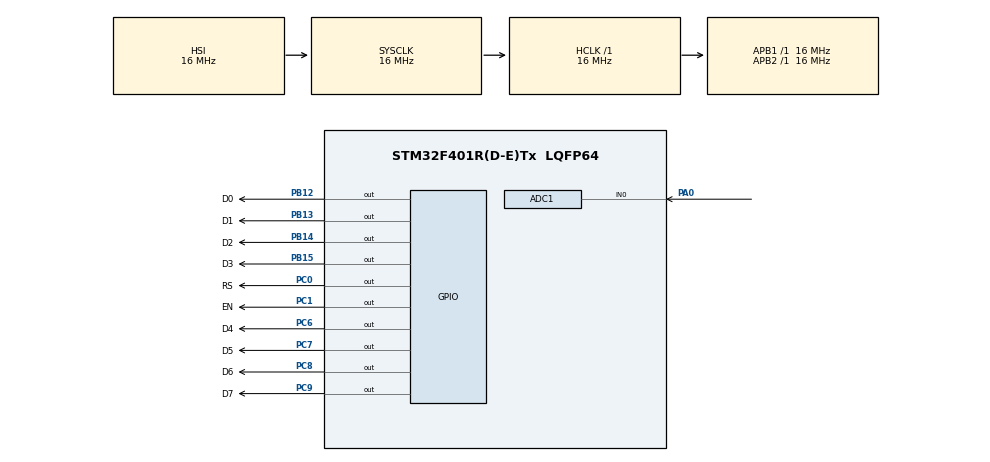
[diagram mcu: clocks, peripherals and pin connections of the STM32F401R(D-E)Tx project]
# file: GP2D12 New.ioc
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ADC1.Channel-0\#ChannelRegularConversion=ADC_CHANNEL_0
ADC1.ClockPrescaler=ADC_CLOCK_SYNC_PCLK_DIV8
ADC1.ContinuousConvMode=ENABLE
ADC1.NbrOfConversionFlag=1
ADC1.Rank-0\#ChannelRegularConversion=1
ADC1.SamplingTime-0\#ChannelRegularConversion=ADC_SAMPLETIME_480CYCLES
ADC1.master=1
Mcu.Family=STM32F4
Mcu.Name=STM32F401R(D-E)Tx
Mcu.Package=LQFP64
NVIC.PriorityGroup=NVIC_PRIORITYGROUP_4
PA0-WKUP.Signal=ADCx_IN0
PB12.GPIO_Label=D0
PB12.Signal=GPIO_Output
PB13.GPIO_Label=D1
PB13.Signal=GPIO_Output
PB14.GPIO_Label=D2
PB14.Signal=GPIO_Output
PB15.GPIO_Label=D3
PB15.Signal=GPIO_Output
PC0.GPIO_Label=RS
PC0.Signal=GPIO_Output
PC1.GPIO_Label=EN
PC1.Signal=GPIO_Output
PC6.GPIO_Label=D4
PC6.Signal=GPIO_Output
PC7.GPIO_Label=D5
PC7.Signal=GPIO_Output
PC8.GPIO_Label=D6
PC8.Signal=GPIO_Output
PC9.GPIO_Label=D7
PC9.Signal=GPIO_Output
ProjectManager.HeapSize=0x200
ProjectManager.StackSize=0x400
ProjectManager.TargetToolchain=STM32CubeIDE
RCC.AHBFreq_Value=16000000
RCC.APB1Freq_Value=16000000
RCC.APB2Freq_Value=16000000
RCC.CortexFreq_Value=16000000
RCC.HSE_VALUE=25000000
RCC.HSI_VALUE=16000000
RCC.LSE_VALUE=32768
RCC.SYSCLKFreq_VALUE=16000000
RCC.VCOOutputFreq_Value=192000000
SH.ADCx_IN0.0=ADC1_IN0,IN0
board=custom

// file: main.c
/* USER CODE BEGIN Header */
/**
  ******************************************************************************
  * @file           : main.c
  * @brief          : Main program body
  ******************************************************************************
  * @attention
  *
  * <h2><center>&copy; Copyright (c) 2020 STMicroelectronics.
  * All rights reserved.</center></h2>
  *
  * This software component is licensed by ST under BSD 3-Clause license,
  * the "License"; You may not use this file except in compliance with the
  * License. You may obtain a copy of the License at:
  *                        opensource.org/licenses/BSD-3-Clause
  *
  ******************************************************************************
  */
/* USER CODE END Header */

#include "main.h"

/* USER CODE BEGIN Includes */
#include "STM_MY_LCD16X2.h"

/* USER CODE END Includes */

ADC_HandleTypeDef hadc1;

void SystemClock_Config(void);
static void MX_GPIO_Init(void);
static void MX_ADC1_Init(void);

int main(void)
{
  /* USER CODE BEGIN 1 */
	uint32_t adc_value = 0;
	float v; //sensor output voltage
	float distance;

  /* USER CODE END 1 */

  /* MCU Configuration--------------------------------------------------------*/

  /* Reset of all peripherals, Initializes the Flash interface and the Systick. */
  HAL_Init();

  /* Configure the system clock */
  SystemClock_Config();

  /* Initialize all configured peripherals */
  MX_GPIO_Init();
  MX_ADC1_Init();
  /* USER CODE BEGIN 2 */
  HAL_ADC_Start(&hadc1);
  LCD1602_Begin8BIT(GPIOC,GPIO_PIN_0,GPIO_PIN_1,GPIOB,GPIO_PIN_12,GPIO_PIN_13,GPIO_PIN_14,GPIO_PIN_15,GPIOC,GPIO_PIN_6,GPIO_PIN_7,GPIO_PIN_8,GPIO_PIN_9);

  /* USER CODE END 2 */

  /* Infinite loop */
  /* USER CODE BEGIN WHILE */
  while (1)
  {
	  adc_value = HAL_ADC_GetValue(&hadc1);
	  v = (float)adc_value * 0.0008058608;

	  distance = (float)((206.3) / (v*v+6.689*v-0.3274));

	  LCD1602_clear();
	  LCD1602_1stLine();
	  LCD1602_print("V : ");
	  LCD1602_PrintFloat(v,2);
	  LCD1602_2ndLine();
	  LCD1602_print("D : ");
	  LCD1602_PrintFloat(distance,4);
	  LCD1602_print(" mm");

	  HAL_Delay(50);
    /* USER CODE END WHILE */

  }
}

void SystemClock_Config(void)
{
  RCC_OscInitTypeDef RCC_OscInitStruct = {0};
  RCC_ClkInitTypeDef RCC_ClkInitStruct = {0};

  /** Configure the main internal regulator output voltage
  */
  __HAL_RCC_PWR_CLK_ENABLE();
  __HAL_PWR_VOLTAGESCALING_CONFIG(PWR_REGULATOR_VOLTAGE_SCALE2);
  /** Initializes the CPU, AHB and APB busses clocks
  */
  RCC_OscInitStruct.OscillatorType = RCC_OSCILLATORTYPE_HSI;
  RCC_OscInitStruct.HSIState = RCC_HSI_ON;
  RCC_OscInitStruct.HSICalibrationValue = RCC_HSICALIBRATION_DEFAULT;
  RCC_OscInitStruct.PLL.PLLState = RCC_PLL_NONE;
  if (HAL_RCC_OscConfig(&RCC_OscInitStruct) != HAL_OK)
  {
    Error_Handler();
  }
  /** Initializes the CPU, AHB and APB busses clocks
  */
  RCC_ClkInitStruct.ClockType = RCC_CLOCKTYPE_HCLK|RCC_CLOCKTYPE_SYSCLK
                              |RCC_CLOCKTYPE_PCLK1|RCC_CLOCKTYPE_PCLK2;
  RCC_ClkInitStruct.SYSCLKSource = RCC_SYSCLKSOURCE_HSI;
  RCC_ClkInitStruct.AHBCLKDivider = RCC_SYSCLK_DIV1;
  RCC_ClkInitStruct.APB1CLKDivider = RCC_HCLK_DIV1;
  RCC_ClkInitStruct.APB2CLKDivider = RCC_HCLK_DIV1;

  if (HAL_RCC_ClockConfig(&RCC_ClkInitStruct, FLASH_LATENCY_0) != HAL_OK)
  {
    Error_Handler();
  }
}

static void MX_ADC1_Init(void)
{

  ADC_ChannelConfTypeDef sConfig = {0};

  /** Configure the global features of the ADC (Clock, Resolution, Data Alignment and number of conversion)
  */
  hadc1.Instance = ADC1;
  hadc1.Init.ClockPrescaler = ADC_CLOCK_SYNC_PCLK_DIV8;
  hadc1.Init.Resolution = ADC_RESOLUTION_12B;
  hadc1.Init.ScanConvMode = DISABLE;
  hadc1.Init.ContinuousConvMode = ENABLE;
  hadc1.Init.DiscontinuousConvMode = DISABLE;
  hadc1.Init.ExternalTrigConvEdge = ADC_EXTERNALTRIGCONVEDGE_NONE;
  hadc1.Init.ExternalTrigConv = ADC_SOFTWARE_START;
  hadc1.Init.DataAlign = ADC_DATAALIGN_RIGHT;
  hadc1.Init.NbrOfConversion = 1;
  hadc1.Init.DMAContinuousRequests = DISABLE;
  hadc1.Init.EOCSelection = ADC_EOC_SINGLE_CONV;
  if (HAL_ADC_Init(&hadc1) != HAL_OK)
  {
    Error_Handler();
  }
  /** Configure for the selected ADC regular channel its corresponding rank in the sequencer and its sample time.
  */
  sConfig.Channel = ADC_CHANNEL_0;
  sConfig.Rank = 1;
  sConfig.SamplingTime = ADC_SAMPLETIME_480CYCLES;
  if (HAL_ADC_ConfigChannel(&hadc1, &sConfig) != HAL_OK)
  {
    Error_Handler();
  }

}

static void MX_GPIO_Init(void)
{
  GPIO_InitTypeDef GPIO_InitStruct = {0};

  /* GPIO Ports Clock Enable */
  __HAL_RCC_GPIOC_CLK_ENABLE();
  __HAL_RCC_GPIOA_CLK_ENABLE();
  __HAL_RCC_GPIOB_CLK_ENABLE();

  /*Configure GPIO pin Output Level */
  HAL_GPIO_WritePin(GPIOC, RS_Pin|EN_Pin|D4_Pin|D5_Pin
                          |D6_Pin|D7_Pin, GPIO_PIN_RESET);

  /*Configure GPIO pin Output Level */
  HAL_GPIO_WritePin(GPIOB, D0_Pin|D1_Pin|D2_Pin|D3_Pin, GPIO_PIN_RESET);

  /*Configure GPIO pins : RS_Pin EN_Pin D4_Pin D5_Pin
                           D6_Pin D7_Pin */
  GPIO_InitStruct.Pin = RS_Pin|EN_Pin|D4_Pin|D5_Pin
                          |D6_Pin|D7_Pin;
  GPIO_InitStruct.Mode = GPIO_MODE_OUTPUT_PP;
  GPIO_InitStruct.Pull = GPIO_NOPULL;
  GPIO_InitStruct.Speed = GPIO_SPEED_FREQ_LOW;
  HAL_GPIO_Init(GPIOC, &GPIO_InitStruct);

  /*Configure GPIO pins : D0_Pin D1_Pin D2_Pin D3_Pin */
  GPIO_InitStruct.Pin = D0_Pin|D1_Pin|D2_Pin|D3_Pin;
  GPIO_InitStruct.Mode = GPIO_MODE_OUTPUT_PP;
  GPIO_InitStruct.Pull = GPIO_NOPULL;
  GPIO_InitStruct.Speed = GPIO_SPEED_FREQ_LOW;
  HAL_GPIO_Init(GPIOB, &GPIO_InitStruct);

}

void Error_Handler(void)
{
}

/************************ (C) COPYRIGHT STMicroelectronics *****END OF FILE****/
